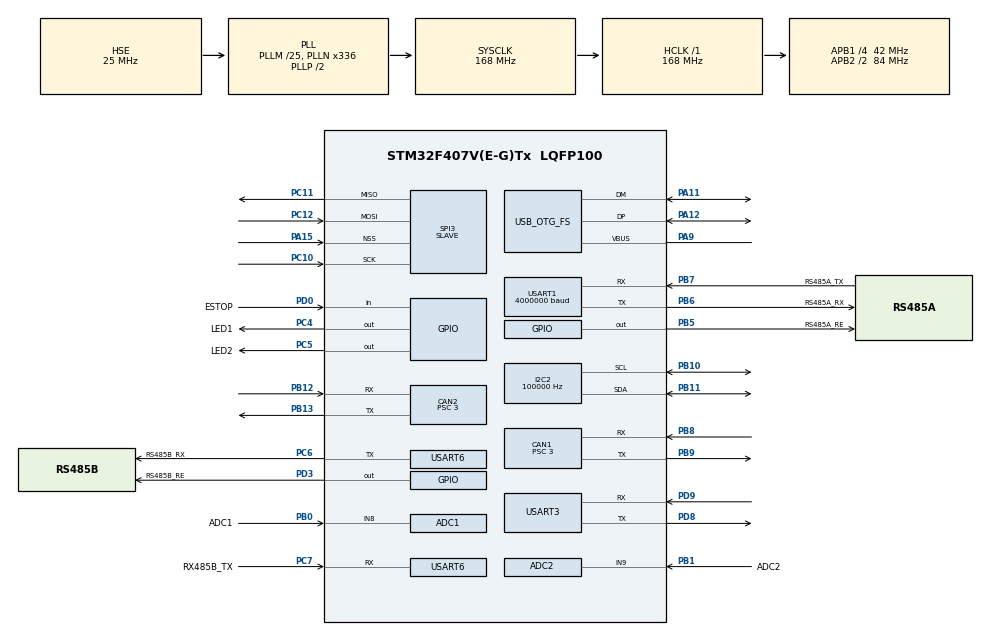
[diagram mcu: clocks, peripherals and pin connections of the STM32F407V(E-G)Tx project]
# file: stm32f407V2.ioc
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ADC1.Channel-1\#ChannelRegularConversion=ADC_CHANNEL_8
ADC1.NbrOfConversionFlag=1
ADC1.Rank-1\#ChannelRegularConversion=1
ADC1.SamplingTime-1\#ChannelRegularConversion=ADC_SAMPLETIME_3CYCLES
ADC1.master=1
ADC2.Channel-0\#ChannelRegularConversion=ADC_CHANNEL_9
ADC2.NbrOfConversionFlag=1
ADC2.Rank-0\#ChannelRegularConversion=1
ADC2.SamplingTime-0\#ChannelRegularConversion=ADC_SAMPLETIME_3CYCLES
CAN1.BS1=CAN_BS1_9TQ
CAN1.BS2=CAN_BS2_4TQ
CAN1.CalculateBaudRate=1000000
CAN1.CalculateTimeBit=1000
CAN1.CalculateTimeQuantum=71.42857142857143
CAN1.Prescaler=3
CAN2.BS1=CAN_BS1_9TQ
CAN2.BS2=CAN_BS2_4TQ
CAN2.CalculateBaudRate=1000000
CAN2.CalculateTimeBit=1000
CAN2.CalculateTimeQuantum=71.42857142857143
CAN2.Prescaler=3
Dma.I2C2_RX.2.Direction=DMA_PERIPH_TO_MEMORY
Dma.I2C2_RX.2.FIFOMode=DMA_FIFOMODE_DISABLE
Dma.I2C2_RX.2.Instance=DMA1_Stream3
Dma.I2C2_RX.2.MemDataAlignment=DMA_MDATAALIGN_BYTE
Dma.I2C2_RX.2.MemInc=DMA_MINC_ENABLE
Dma.I2C2_RX.2.Mode=DMA_NORMAL
Dma.I2C2_RX.2.PeriphDataAlignment=DMA_PDATAALIGN_BYTE
Dma.I2C2_RX.2.PeriphInc=DMA_PINC_DISABLE
Dma.I2C2_RX.2.Priority=DMA_PRIORITY_HIGH
Dma.I2C2_TX.3.Direction=DMA_MEMORY_TO_PERIPH
Dma.I2C2_TX.3.FIFOMode=DMA_FIFOMODE_DISABLE
Dma.I2C2_TX.3.Instance=DMA1_Stream7
Dma.I2C2_TX.3.MemDataAlignment=DMA_MDATAALIGN_BYTE
Dma.I2C2_TX.3.MemInc=DMA_MINC_ENABLE
Dma.I2C2_TX.3.Mode=DMA_NORMAL
Dma.I2C2_TX.3.PeriphDataAlignment=DMA_PDATAALIGN_BYTE
Dma.I2C2_TX.3.PeriphInc=DMA_PINC_DISABLE
Dma.I2C2_TX.3.Priority=DMA_PRIORITY_HIGH
Dma.Request0=SPI3_RX
Dma.Request1=SPI3_TX
Dma.Request2=I2C2_RX
Dma.Request3=I2C2_TX
Dma.Request4=USART3_RX
Dma.Request5=USART3_TX
Dma.Request6=USART6_RX
Dma.Request7=USART1_RX
Dma.SPI3_RX.0.Direction=DMA_PERIPH_TO_MEMORY
Dma.SPI3_RX.0.FIFOMode=DMA_FIFOMODE_DISABLE
Dma.SPI3_RX.0.Instance=DMA1_Stream0
Dma.SPI3_RX.0.MemDataAlignment=DMA_MDATAALIGN_BYTE
Dma.SPI3_RX.0.MemInc=DMA_MINC_ENABLE
Dma.SPI3_RX.0.Mode=DMA_NORMAL
Dma.SPI3_RX.0.PeriphDataAlignment=DMA_PDATAALIGN_BYTE
Dma.SPI3_RX.0.PeriphInc=DMA_PINC_DISABLE
Dma.SPI3_RX.0.Priority=DMA_PRIORITY_HIGH
Dma.SPI3_TX.1.Direction=DMA_MEMORY_TO_PERIPH
Dma.SPI3_TX.1.FIFOMode=DMA_FIFOMODE_DISABLE
Dma.SPI3_TX.1.Instance=DMA1_Stream5
Dma.SPI3_TX.1.MemDataAlignment=DMA_MDATAALIGN_BYTE
Dma.SPI3_TX.1.MemInc=DMA_MINC_ENABLE
Dma.SPI3_TX.1.Mode=DMA_NORMAL
Dma.SPI3_TX.1.PeriphDataAlignment=DMA_PDATAALIGN_BYTE
Dma.SPI3_TX.1.PeriphInc=DMA_PINC_DISABLE
Dma.SPI3_TX.1.Priority=DMA_PRIORITY_HIGH
Dma.USART1_RX.7.Direction=DMA_PERIPH_TO_MEMORY
Dma.USART1_RX.7.FIFOMode=DMA_FIFOMODE_DISABLE
Dma.USART1_RX.7.Instance=DMA2_Stream2
Dma.USART1_RX.7.MemDataAlignment=DMA_MDATAALIGN_BYTE
Dma.USART1_RX.7.MemInc=DMA_MINC_ENABLE
Dma.USART1_RX.7.Mode=DMA_NORMAL
Dma.USART1_RX.7.PeriphDataAlignment=DMA_PDATAALIGN_BYTE
Dma.USART1_RX.7.PeriphInc=DMA_PINC_DISABLE
Dma.USART1_RX.7.Priority=DMA_PRIORITY_HIGH
Dma.USART3_RX.4.Direction=DMA_PERIPH_TO_MEMORY
Dma.USART3_RX.4.FIFOMode=DMA_FIFOMODE_DISABLE
Dma.USART3_RX.4.Instance=DMA1_Stream1
Dma.USART3_RX.4.MemDataAlignment=DMA_MDATAALIGN_BYTE
Dma.USART3_RX.4.MemInc=DMA_MINC_ENABLE
Dma.USART3_RX.4.Mode=DMA_NORMAL
Dma.USART3_RX.4.PeriphDataAlignment=DMA_PDATAALIGN_BYTE
Dma.USART3_RX.4.PeriphInc=DMA_PINC_DISABLE
Dma.USART3_RX.4.Priority=DMA_PRIORITY_HIGH
Dma.USART3_TX.5.Direction=DMA_MEMORY_TO_PERIPH
Dma.USART3_TX.5.FIFOMode=DMA_FIFOMODE_DISABLE
Dma.USART3_TX.5.Instance=DMA1_Stream4
Dma.USART3_TX.5.MemDataAlignment=DMA_MDATAALIGN_BYTE
Dma.USART3_TX.5.MemInc=DMA_MINC_ENABLE
Dma.USART3_TX.5.Mode=DMA_NORMAL
Dma.USART3_TX.5.PeriphDataAlignment=DMA_PDATAALIGN_BYTE
Dma.USART3_TX.5.PeriphInc=DMA_PINC_DISABLE
Dma.USART3_TX.5.Priority=DMA_PRIORITY_HIGH
Dma.USART6_RX.6.Direction=DMA_PERIPH_TO_MEMORY
Dma.USART6_RX.6.FIFOMode=DMA_FIFOMODE_DISABLE
Dma.USART6_RX.6.Instance=DMA2_Stream1
Dma.USART6_RX.6.MemDataAlignment=DMA_MDATAALIGN_BYTE
Dma.USART6_RX.6.MemInc=DMA_MINC_ENABLE
Dma.USART6_RX.6.Mode=DMA_NORMAL
Dma.USART6_RX.6.PeriphDataAlignment=DMA_PDATAALIGN_BYTE
Dma.USART6_RX.6.PeriphInc=DMA_PINC_DISABLE
Dma.USART6_RX.6.Priority=DMA_PRIORITY_HIGH
FREERTOS.Tasks01=defaultTask,24,128,StartDefaultTask,Default,NULL,Dynamic,NULL,NULL;cdcRXTask,24,128,StartCDCRXTask,Default,NULL,Dynamic,NULL,NULL;canTXTask,24,128,StartCANTXTask,Default,NULL,Dynamic,NULL,NULL;dataRXTask,24,128,StartDataRXTask,Default,NULL,Dynamic,NULL,NULL;cdcTXTask,24,128,StartCDCTXTask,Default,NULL,Dynamic,NULL,NULL;spiRXTask06,24,128,StartSPIRXTask,Default,NULL,Dynamic,NULL,NULL;usartTXTask,24,128,StartUSARTTXTask,Default,NULL,Dynamic,NULL,NULL;i2cRXTask,24,128,StartI2CRXTask,Default,NULL,Dynamic,NULL,NULL;adcRXTask,24,128,StartADCRXTask,Default,NULL,Dynamic,NULL,NULL;rs485ATXTask,24,128,StartRS485ATXTask,Default,NULL,Dynamic,NULL,NULL;rs485BTXTask,24,128,StartRS485BTXTask,Default,NULL,Dynamic,NULL,NULL
FREERTOS.configUSE_NEWLIB_REENTRANT=1
I2C2.ClockSpeed=100000
I2C2.I2C_Mode=I2C_Standard
Mcu.Family=STM32F4
Mcu.Name=STM32F407V(E-G)Tx
Mcu.Package=LQFP100
NVIC.CAN1_RX0_IRQn=true\:5\:0\:false\:false\:true\:true\:true\:true\:true
NVIC.CAN2_RX1_IRQn=true\:5\:0\:false\:false\:true\:true\:true\:true\:true
NVIC.DMA1_Stream0_IRQn=true\:5\:0\:false\:false\:true\:false\:false\:true\:true
NVIC.DMA1_Stream1_IRQn=true\:5\:0\:false\:false\:true\:true\:false\:true\:true
NVIC.DMA1_Stream3_IRQn=true\:5\:0\:false\:false\:true\:true\:false\:true\:true
NVIC.DMA1_Stream4_IRQn=true\:5\:0\:false\:false\:true\:true\:false\:true\:true
NVIC.DMA1_Stream5_IRQn=true\:5\:0\:false\:false\:true\:true\:false\:true\:true
NVIC.DMA1_Stream7_IRQn=true\:5\:0\:false\:false\:true\:true\:false\:true\:true
NVIC.DMA2_Stream1_IRQn=true\:5\:0\:false\:false\:true\:true\:false\:true\:true
NVIC.DMA2_Stream2_IRQn=true\:5\:0\:false\:false\:true\:true\:false\:true\:true
NVIC.I2C2_ER_IRQn=true\:5\:0\:false\:false\:true\:true\:true\:true\:true
NVIC.I2C2_EV_IRQn=true\:5\:0\:false\:false\:true\:true\:true\:true\:true
NVIC.OTG_FS_IRQn=true\:5\:0\:false\:false\:true\:true\:false\:true\:true
NVIC.PriorityGroup=NVIC_PRIORITYGROUP_4
NVIC.RCC_IRQn=true\:5\:0\:false\:false\:true\:true\:true\:false\:true
NVIC.TIM8_UP_TIM13_IRQn=true\:15\:0\:false\:false\:true\:false\:false\:true\:true
NVIC.TimeBase=TIM8_UP_TIM13_IRQn
NVIC.TimeBaseIP=TIM13
NVIC.USART1_IRQn=true\:5\:0\:false\:false\:true\:true\:true\:true\:true
NVIC.USART3_IRQn=true\:5\:0\:false\:false\:true\:true\:true\:true\:true
NVIC.USART6_IRQn=true\:5\:0\:false\:false\:true\:true\:true\:true\:true
PA11.Mode=Device_Only
PA11.Signal=USB_OTG_FS_DM
PA12.Mode=Device_Only
PA12.Signal=USB_OTG_FS_DP
PA13.Mode=Serial_Wire
PA13.Signal=SYS_JTMS-SWDIO
PA14.Mode=Serial_Wire
PA14.Signal=SYS_JTCK-SWCLK
PA15.GPIO_PuPd=GPIO_NOPULL
PA15.Mode=NSS_Signal_Hard_Input
PA15.Signal=SPI3_NSS
PA9.Mode=Activate_VBUS
PA9.Signal=USB_OTG_FS_VBUS
PB0.GPIO_Label=ADC1
PB0.Signal=ADCx_IN8
PB1.GPIO_Label=ADC2
PB1.Signal=ADCx_IN9
PB10.Mode=I2C
PB10.Signal=I2C2_SCL
PB11.Mode=I2C
PB11.Signal=I2C2_SDA
PB12.Mode=CAN_Activate
PB12.Signal=CAN2_RX
PB13.Mode=CAN_Activate
PB13.Signal=CAN2_TX
PB5.GPIO_Label=RS485A_RE
PB5.GPIO_PuPd=GPIO_NOPULL
PB5.GPIO_Speed=GPIO_SPEED_FREQ_HIGH
PB5.PinState=GPIO_PIN_RESET
PB5.Signal=GPIO_Output
PB6.GPIO_Label=RS485A_RX
PB6.GPIO_PuPd=GPIO_PULLUP
PB6.Mode=Asynchronous
PB6.Signal=USART1_TX
PB7.GPIO_Label=RS485A_TX
PB7.GPIO_PuPd=GPIO_PULLUP
PB7.GPIO_Speed=GPIO_SPEED_FREQ_VERY_HIGH
PB7.Mode=Asynchronous
PB7.Signal=USART1_RX
PB8.Mode=CAN_Activate
PB8.Signal=CAN1_RX
PB9.Mode=CAN_Activate
PB9.Signal=CAN1_TX
PC10.Mode=Full_Duplex_Slave
PC10.Signal=SPI3_SCK
PC11.Mode=Full_Duplex_Slave
PC11.Signal=SPI3_MISO
PC12.Mode=Full_Duplex_Slave
PC12.Signal=SPI3_MOSI
PC4.GPIO_Label=LED1
PC4.Signal=GPIO_Output
PC5.GPIO_Label=LED2
PC5.Signal=GPIO_Output
PC6.GPIO_Label=RS485B_RX
PC6.GPIO_PuPd=GPIO_PULLUP
PC6.Mode=Asynchronous
PC6.Signal=USART6_TX
PC7.GPIO_Label=RX485B_TX
PC7.GPIO_PuPd=GPIO_PULLUP
PC7.Mode=Asynchronous
PC7.Signal=USART6_RX
PD0.GPIO_Label=ESTOP
PD0.Signal=GPIO_Input
PD3.GPIO_Label=RS485B_RE
PD3.GPIO_ModeDefaultOutputPP=GPIO_MODE_OUTPUT_PP
PD3.GPIO_PuPd=GPIO_NOPULL
PD3.GPIO_Speed=GPIO_SPEED_FREQ_HIGH
PD3.PinState=GPIO_PIN_RESET
PD3.Signal=GPIO_Output
PD8.Mode=Asynchronous
PD8.Signal=USART3_TX
PD9.Mode=Asynchronous
PD9.Signal=USART3_RX
PH0-OSC_IN.Mode=HSE-External-Oscillator
PH0-OSC_IN.Signal=RCC_OSC_IN
PH1-OSC_OUT.Mode=HSE-External-Oscillator
PH1-OSC_OUT.Signal=RCC_OSC_OUT
ProjectManager.HeapSize=0x400
ProjectManager.StackSize=0x800
ProjectManager.TargetToolchain=STM32CubeIDE
RCC.48MHZClocksFreq_Value=48000000
RCC.AHBFreq_Value=168000000
RCC.APB1CLKDivider=RCC_HCLK_DIV4
RCC.APB1Freq_Value=42000000
RCC.APB1TimFreq_Value=84000000
RCC.APB2CLKDivider=RCC_HCLK_DIV2
RCC.APB2Freq_Value=84000000
RCC.APB2TimFreq_Value=168000000
RCC.CortexFreq_Value=168000000
RCC.HCLKFreq_Value=168000000
RCC.HSE_VALUE=25000000
RCC.HSI_VALUE=16000000
RCC.LSE_VALUE=32768
RCC.PLLM=25
RCC.PLLN=336
RCC.PLLQ=7
RCC.SYSCLKFreq_VALUE=168000000
RCC.SYSCLKSource=RCC_SYSCLKSOURCE_PLLCLK
RCC.VCOOutputFreq_Value=336000000
SH.ADCx_IN8.0=ADC1_IN8,IN8
SH.ADCx_IN9.0=ADC2_IN9,IN9
SPI3.CLKPhase=SPI_PHASE_1EDGE
SPI3.CRCCalculation=SPI_CRCCALCULATION_ENABLE
SPI3.CRCPolynomial=X0+X1+X2
SPI3.Direction=SPI_DIRECTION_2LINES
SPI3.Mode=SPI_MODE_SLAVE
SPI3.VirtualNSS=VM_NSSHARD
SPI3.VirtualType=VM_SLAVE
USART1.BaudRate=4000000
USART1.OverSampling=UART_OVERSAMPLING_8
USART1.VirtualMode=VM_ASYNC
USART3.VirtualMode=VM_ASYNC
USART6.BaudRate=4000000
USART6.OverSampling=UART_OVERSAMPLING_8
USART6.VirtualMode=VM_ASYNC
USB_DEVICE.CLASS_NAME_FS=CDC
USB_DEVICE.PRODUCT_STRING_CDC_FS=USB to CAN/RS485 ComPort
USB_DEVICE.VirtualMode-CDC_FS=Cdc
USB_DEVICE.VirtualModeFS=Cdc_FS
USB_OTG_FS.VirtualMode=Device_Only
VP_CRC_VS_CRC.Mode=CRC_Activate
VP_FREERTOS_VS_CMSIS_V2.Mode=CMSIS_V2
VP_SYS_VS_tim13.Mode=TIM13
VP_USB_DEVICE_VS_USB_DEVICE_CDC_FS.Mode=CDC_FS
board=custom

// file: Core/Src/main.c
/* USER CODE BEGIN Header */
/**
  ******************************************************************************
  * @file           : main.c
  * @brief          : Main program body
  ******************************************************************************
  * @attention
  *
  * Copyright (c) 2025 STMicroelectronics.
  * All rights reserved.
  *
  * This software is licensed under terms that can be found in the LICENSE file
  * in the root directory of this software component.
  * If no LICENSE file comes with this software, it is provided AS-IS.
  *
  ******************************************************************************
  */
/* USER CODE END Header */
#include "main.h"
#include "cmsis_os.h"
#include "adc.h"
#include "can.h"
#include "crc.h"
#include "dma.h"
#include "i2c.h"
#include "spi.h"
#include "usart.h"
#include "usb_device.h"
#include "gpio.h"

/* USER CODE BEGIN Includes */
#include "loop_function.h"
/* USER CODE END Includes */

void SystemClock_Config(void);
void MX_FREERTOS_Init(void);

int main(void)
{

  /* MCU Configuration--------------------------------------------------------*/

  /* Reset of all peripherals, Initializes the Flash interface and the Systick. */
  HAL_Init();

  /* Configure the system clock */
  SystemClock_Config();

  /* Initialize all configured peripherals */
  MX_GPIO_Init();
  MX_DMA_Init();
  MX_CAN1_Init();
  MX_CAN2_Init();
  MX_I2C2_Init();
  MX_SPI3_Init();
  MX_USART6_UART_Init();
  MX_ADC1_Init();
  MX_ADC2_Init();
  MX_CRC_Init();
  MX_USART3_UART_Init();
  MX_USART1_UART_Init();
  /* USER CODE BEGIN 2 */

  HAL_GPIO_WritePin(LED1_GPIO_Port, LED1_Pin, RESET);
  HAL_GPIO_WritePin(LED2_GPIO_Port, LED2_Pin, RESET);

	init_loop();
  /* USER CODE END 2 */

  /* Init scheduler */
  osKernelInitialize();  /* Call init function for freertos objects (in cmsis_os2.c) */
  MX_FREERTOS_Init();

  /* Start scheduler */
  osKernelStart();

  /* We should never get here as control is now taken by the scheduler */

  /* Infinite loop */
  while (1)
  {

  }
}

void SystemClock_Config(void)
{
  RCC_OscInitTypeDef RCC_OscInitStruct = {0};
  RCC_ClkInitTypeDef RCC_ClkInitStruct = {0};

  /** Configure the main internal regulator output voltage
  */
  __HAL_RCC_PWR_CLK_ENABLE();
  __HAL_PWR_VOLTAGESCALING_CONFIG(PWR_REGULATOR_VOLTAGE_SCALE1);

  /** Initializes the RCC Oscillators according to the specified parameters
  * in the RCC_OscInitTypeDef structure.
  */
  RCC_OscInitStruct.OscillatorType = RCC_OSCILLATORTYPE_HSE;
  RCC_OscInitStruct.HSEState = RCC_HSE_ON;
  RCC_OscInitStruct.PLL.PLLState = RCC_PLL_ON;
  RCC_OscInitStruct.PLL.PLLSource = RCC_PLLSOURCE_HSE;
  RCC_OscInitStruct.PLL.PLLM = 25;
  RCC_OscInitStruct.PLL.PLLN = 336;
  RCC_OscInitStruct.PLL.PLLP = RCC_PLLP_DIV2;
  RCC_OscInitStruct.PLL.PLLQ = 7;
  if (HAL_RCC_OscConfig(&RCC_OscInitStruct) != HAL_OK)
  {
    Error_Handler();
  }

  /** Initializes the CPU, AHB and APB buses clocks
  */
  RCC_ClkInitStruct.ClockType = RCC_CLOCKTYPE_HCLK|RCC_CLOCKTYPE_SYSCLK
                              |RCC_CLOCKTYPE_PCLK1|RCC_CLOCKTYPE_PCLK2;
  RCC_ClkInitStruct.SYSCLKSource = RCC_SYSCLKSOURCE_PLLCLK;
  RCC_ClkInitStruct.AHBCLKDivider = RCC_SYSCLK_DIV1;
  RCC_ClkInitStruct.APB1CLKDivider = RCC_HCLK_DIV4;
  RCC_ClkInitStruct.APB2CLKDivider = RCC_HCLK_DIV2;

  if (HAL_RCC_ClockConfig(&RCC_ClkInitStruct, FLASH_LATENCY_5) != HAL_OK)
  {
    Error_Handler();
  }
}

void HAL_TIM_PeriodElapsedCallback(TIM_HandleTypeDef *htim)
{
  if (htim->Instance == TIM13)
  {
    HAL_IncTick();
  }
}

void Error_Handler(void)
{
  __disable_irq();
  while (1)
  {
  }
}

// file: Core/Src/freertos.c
/* USER CODE BEGIN Header */
/**
  ******************************************************************************
  * File Name          : freertos.c
  * Description        : Code for freertos applications
  ******************************************************************************
  * @attention
  *
  * Copyright (c) 2025 STMicroelectronics.
  * All rights reserved.
  *
  * This software is licensed under terms that can be found in the LICENSE file
  * in the root directory of this software component.
  * If no LICENSE file comes with this software, it is provided AS-IS.
  *
  ******************************************************************************
  */
/* USER CODE END Header */

#include "FreeRTOS.h"
#include "task.h"
#include "main.h"
#include "cmsis_os.h"

/* USER CODE BEGIN Includes */
#include "error.h"
#include "usbd_cdc.h"
#include "loop_function.h"
#include "spi.h"
#include "usart.h"
#include "i2c.h"
#include "adc.h"
#include "mpu6050.h"
#include "usart.h"
/* USER CODE END Includes */

/* USER CODE BEGIN Variables */
extern USBD_HandleTypeDef hUsbDeviceFS;
extern CAN_HandleTypeDef hcan1;
extern CAN_HandleTypeDef hcan2;
/* USER CODE END Variables */
/* Definitions for defaultTask */
osThreadId_t defaultTaskHandle;
const osThreadAttr_t defaultTask_attributes = {
  .name = "defaultTask",
  .stack_size = 128 * 4,
  .priority = (osPriority_t) osPriorityNormal,
};
/* Definitions for cdcRXTask */
osThreadId_t cdcRXTaskHandle;
const osThreadAttr_t cdcRXTask_attributes = {
  .name = "cdcRXTask",
  .stack_size = 128 * 4,
  .priority = (osPriority_t) osPriorityNormal,
};
/* Definitions for canTXTask */
osThreadId_t canTXTaskHandle;
const osThreadAttr_t canTXTask_attributes = {
  .name = "canTXTask",
  .stack_size = 128 * 4,
  .priority = (osPriority_t) osPriorityNormal,
};
/* Definitions for dataRXTask */
osThreadId_t dataRXTaskHandle;
const osThreadAttr_t dataRXTask_attributes = {
  .name = "dataRXTask",
  .stack_size = 128 * 4,
  .priority = (osPriority_t) osPriorityNormal,
};
/* Definitions for cdcTXTask */
osThreadId_t cdcTXTaskHandle;
const osThreadAttr_t cdcTXTask_attributes = {
  .name = "cdcTXTask",
  .stack_size = 128 * 4,
  .priority = (osPriority_t) osPriorityNormal,
};
/* Definitions for spiRXTask06 */
osThreadId_t spiRXTask06Handle;
const osThreadAttr_t spiRXTask06_attributes = {
  .name = "spiRXTask06",
  .stack_size = 128 * 4,
  .priority = (osPriority_t) osPriorityNormal,
};
/* Definitions for usartTXTask */
osThreadId_t usartTXTaskHandle;
const osThreadAttr_t usartTXTask_attributes = {
  .name = "usartTXTask",
  .stack_size = 128 * 4,
  .priority = (osPriority_t) osPriorityNormal,
};
/* Definitions for i2cRXTask */
osThreadId_t i2cRXTaskHandle;
const osThreadAttr_t i2cRXTask_attributes = {
  .name = "i2cRXTask",
  .stack_size = 128 * 4,
  .priority = (osPriority_t) osPriorityNormal,
};
/* Definitions for adcRXTask */
osThreadId_t adcRXTaskHandle;
const osThreadAttr_t adcRXTask_attributes = {
  .name = "adcRXTask",
  .stack_size = 128 * 4,
  .priority = (osPriority_t) osPriorityNormal,
};
/* Definitions for rs485ATXTask */
osThreadId_t rs485ATXTaskHandle;
const osThreadAttr_t rs485ATXTask_attributes = {
  .name = "rs485ATXTask",
  .stack_size = 128 * 4,
  .priority = (osPriority_t) osPriorityNormal,
};
/* Definitions for rs485BTXTask */
osThreadId_t rs485BTXTaskHandle;
const osThreadAttr_t rs485BTXTask_attributes = {
  .name = "rs485BTXTask",
  .stack_size = 128 * 4,
  .priority = (osPriority_t) osPriorityNormal,
};

void StartDefaultTask(void *argument);
void StartCDCRXTask(void *argument);
void StartCANTXTask(void *argument);
void StartDataRXTask(void *argument);
void StartCDCTXTask(void *argument);
void StartSPIRXTask(void *argument);
void StartUSARTTXTask(void *argument);
void StartI2CRXTask(void *argument);
void StartADCRXTask(void *argument);
void StartRS485ATXTask(void *argument);
void StartRS485BTXTask(void *argument);

extern void MX_USB_DEVICE_Init(void);
void MX_FREERTOS_Init(void); /* (MISRA C 2004 rule 8.1) */

void MX_FREERTOS_Init(void) {

  /* Create the thread(s) */
  /* creation of defaultTask */
  defaultTaskHandle = osThreadNew(StartDefaultTask, NULL, &defaultTask_attributes);

  /* creation of cdcRXTask */
  cdcRXTaskHandle = osThreadNew(StartCDCRXTask, NULL, &cdcRXTask_attributes);

  /* creation of canTXTask */
  canTXTaskHandle = osThreadNew(StartCANTXTask, NULL, &canTXTask_attributes);

  /* creation of dataRXTask */
  dataRXTaskHandle = osThreadNew(StartDataRXTask, NULL, &dataRXTask_attributes);

  /* creation of cdcTXTask */
  cdcTXTaskHandle = osThreadNew(StartCDCTXTask, NULL, &cdcTXTask_attributes);

  /* creation of spiRXTask06 */
  spiRXTask06Handle = osThreadNew(StartSPIRXTask, NULL, &spiRXTask06_attributes);

  /* creation of usartTXTask */
  usartTXTaskHandle = osThreadNew(StartUSARTTXTask, NULL, &usartTXTask_attributes);

  /* creation of i2cRXTask */
  i2cRXTaskHandle = osThreadNew(StartI2CRXTask, NULL, &i2cRXTask_attributes);

  /* creation of adcRXTask */
  adcRXTaskHandle = osThreadNew(StartADCRXTask, NULL, &adcRXTask_attributes);

  /* creation of rs485ATXTask */
  rs485ATXTaskHandle = osThreadNew(StartRS485ATXTask, NULL, &rs485ATXTask_attributes);

  /* creation of rs485BTXTask */
  rs485BTXTaskHandle = osThreadNew(StartRS485BTXTask, NULL, &rs485BTXTask_attributes);

}

void StartDefaultTask(void *argument)
{
  /* init code for USB_DEVICE */
  MX_USB_DEVICE_Init();
  /* USER CODE BEGIN StartDefaultTask */
  init_task(&hspi3,RS485A_RE_GPIO_Port,RS485A_RE_Pin,&huart1,&hdma_usart1_rx,RS485B_RE_GPIO_Port,RS485B_RE_Pin,&huart6,&hdma_usart6_rx);
  /* Infinite loop */
  for(;;)
  {
    osDelay(1);
  }
  /* USER CODE END StartDefaultTask */
}

void StartCDCRXTask(void *argument)
{
  /* USER CODE BEGIN StartCDCRXTask */
	int ret = 0;
  /* Infinite loop */
  for(;;)
  {
  	ret = cdc_rx_loop();
  	switch(ret)
  	{
  		case 1:
  			break;
  		case 2:
  			if(((USBD_CDC_HandleTypeDef*)(hUsbDeviceFS.pClassData))->TxState == 0)
  			{
  				USBD_CDC_SetTxBuffer(&hUsbDeviceFS, _get_cdc_cmd_atok(), _get_cdc_cmd_atok_length());
  				USBD_CDC_TransmitPacket(&hUsbDeviceFS);
  				_pop_cdcrx_queue();
  				_set_cdc_mode(2);
  			}
  			else
  			{
  				error_assert(ERR_CDCTX_BUSY);
  			}
  			break;
  		case 3:
  			if(((USBD_CDC_HandleTypeDef*)(hUsbDeviceFS.pClassData))->TxState == 0)
  			{
  				USBD_CDC_SetTxBuffer(&hUsbDeviceFS, _get_cdc_cmd_atok(), _get_cdc_cmd_atok_length());
  				USBD_CDC_TransmitPacket(&hUsbDeviceFS);
  				_pop_cdcrx_queue();
  				_set_cdc_mode(1);
  			}
  			else
  			{
  				error_assert(ERR_CDCTX_BUSY);
  			}
  			break;
  		case 22:
  			if(((USBD_CDC_HandleTypeDef*)(hUsbDeviceFS.pClassData))->TxState == 0)
  			{
  				USBD_CDC_SetTxBuffer(&hUsbDeviceFS, _get_cdc_cmd_atver(), _get_cdc_cmd_atver_length());
  				USBD_CDC_TransmitPacket(&hUsbDeviceFS);
  				_pop_cdcrx_queue();
  			}
  			else
  			{
  				error_assert(ERR_CDCTX_BUSY);
  			}
  			break;
  		default:
  			error_assert_int(ret);
  	}

    //osDelay(1);
  }
  /* USER CODE END StartCDCRXTask */
}

void StartCANTXTask(void *argument)
{
  /* USER CODE BEGIN StartCANTXTask */
  /* Infinite loop */
  for(;;)
  {
  	cdc2can_tx_loop(&hcan1, &hcan2);
  	spi2can_tx_loop(&hcan1, &hcan2);
  }
  /* USER CODE END StartCANTXTask */
}

void StartDataRXTask(void *argument)
{
  /* USER CODE BEGIN StartDataRXTask */
  /* Infinite loop */
  for(;;)
  {
  	data_rx_loop();
  }
  /* USER CODE END StartDataRXTask */
}

void StartCDCTXTask(void *argument)
{
  /* USER CODE BEGIN StartCDCTXTask */
	int ret = 0;
  /* Infinite loop */
  for(;;)
  {
  	ret = cdc_tx_loop();
  	switch(ret)
  	{
  		case 1:
  		  if(((USBD_CDC_HandleTypeDef*)(hUsbDeviceFS.pClassData))->TxState == 0)
  		  {
  		    USBD_CDC_SetTxBuffer(&hUsbDeviceFS, _get_cdctx_queue_buf(), _get_cdctx_queue_buf_size());
  		    USBD_CDC_TransmitPacket(&hUsbDeviceFS);
  		    _pop_cdctx_queue();
  		  }
  		  else
  		  {
  		  	error_assert(ERR_CDCTX_BUSY);
  		  }
  			break;
  		default:
  			error_assert_int(ret);
  	}
  }
  /* USER CODE END StartCDCTXTask */
}

void StartSPIRXTask(void *argument)
{
  /* USER CODE BEGIN StartSPIRXTask */
  /* Infinite loop */
  for(;;)
  {
  	spi_rx_loop(&hcan1, &hcan2, &huart1, &huart6);
  }
  /* USER CODE END StartSPIRXTask */
}

void StartUSARTTXTask(void *argument)
{
  /* USER CODE BEGIN StartUSARTTXTask */
  /* Infinite loop */
  for(;;)
  {
  	//usart_tx_loop(&huart3);
    osDelay(1);
  }
  /* USER CODE END StartUSARTTXTask */
}

void StartI2CRXTask(void *argument)
{
  /* USER CODE BEGIN StartI2CRXTask */
	uint8_t mpu_len = 14;
	uint8_t mpu_data[14] = {0};
  /* Infinite loop */
  for(;;)
  {
  	if(MPU_Init(&hi2c2)==0)
  	{
  		MPU_Read_Len(&hi2c2, 0x3B, mpu_len, mpu_data);
  		HAL_UART_Transmit_DMA(&huart3, mpu_data, mpu_len);
  	}
		HAL_Delay(1000);
  }
  /* USER CODE END StartI2CRXTask */
}

void StartADCRXTask(void *argument)
{
  /* USER CODE BEGIN StartADCRXTask */
	// uint16_t value_adc;
	// uint8_t value_len;
  /* Infinite loop */
  for(;;)
  {
  	HAL_ADC_Start(&hadc1);//开始ADC采集
  	HAL_ADC_PollForConversion(&hadc1,500);//等待采集结束
  	// ADC传感器数据处理

  	HAL_ADC_Start(&hadc2);//开始ADC采集
  	HAL_ADC_PollForConversion(&hadc2,500);//等待采集结束
  	// ADC传感器数据处理
  	// HAL_UART_Transmit_DMA(&huart3, (uint8_t*)&value_adc, value_len);

  	HAL_Delay(1000);

  }
  /* USER CODE END StartADCRXTask */
}

void StartRS485ATXTask(void *argument)
{
  /* USER CODE BEGIN StartRS485ATXTask */
  /* Infinite loop */
  for(;;)
  {
  	cdc2rs485a_tx_loop(&huart1, RS485A_RE_GPIO_Port, RS485A_RE_Pin);
  	spi2rs485a_tx_loop(&huart1, RS485A_RE_GPIO_Port, RS485A_RE_Pin);
  }
  /* USER CODE END StartRS485ATXTask */
}

void StartRS485BTXTask(void *argument)
{
  /* USER CODE BEGIN StartRS485BTXTask */
	/* Infinite loop */
  for(;;)
  {
  	cdc2rs485b_tx_loop(&huart6, RS485B_RE_GPIO_Port, RS485B_RE_Pin);
  	spi2rs485b_tx_loop(&huart6, RS485B_RE_GPIO_Port, RS485B_RE_Pin);
  }
  /* USER CODE END StartRS485BTXTask */
}
